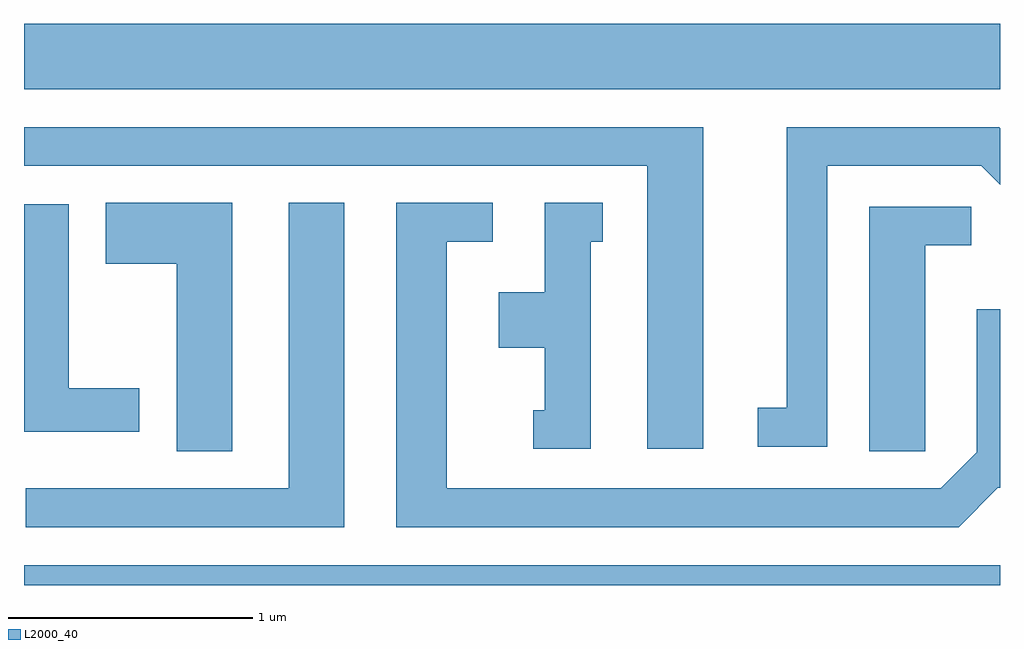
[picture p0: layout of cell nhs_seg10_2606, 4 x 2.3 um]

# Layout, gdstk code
import gdstk
lib = gdstk.Library(unit=1e-6, precision=1e-09)
def R(c, l, rs):  # rectangles x0, y0, x1, y1
    for r in rs: c.add(gdstk.rectangle(r[:2], r[2:], *l))
def P(c, l, *ps):  # polygons
    for p in ps: c.add(gdstk.Polygon(p, *l))
L2000_40 = (2000, 40)

nhs_seg10_2606 = lib.new_cell('nhs_seg10_2606')
R(nhs_seg10_2606, L2000_40, [(261.611,2138.522,265.611,2138.604), (261.611,2140.556,265.611,2140.824)])
P(nhs_seg10_2606, L2000_40, [(264.904,2140.241),(265.534,2140.241),(265.611,2140.164),(265.611,2140.395),(265.607,2140.399),(264.736,2140.399),(264.736,2139.249),(264.618,2139.249),(264.618,2139.091),(264.904,2139.091)],
  [(264.394,2140.399),(261.611,2140.399),(261.611,2140.241),(264.166,2140.241),(264.166,2139.081),(264.394,2139.081)],
  [(265.602,2138.921),(265.611,2138.921),(265.611,2139.653),(265.516,2139.653),(265.516,2139.067),(265.369,2138.919),(263.344,2138.919),(263.344,2139.931),(263.533,2139.931),(263.533,2140.089),(263.136,2140.089),(263.136,2138.761),(265.442,2138.761)],
  [(263.934,2139.931),(263.983,2139.931),(263.983,2140.089),(263.746,2140.089),(263.746,2139.724),(263.556,2139.724),(263.556,2139.496),(263.746,2139.496),(263.746,2139.239),(263.698,2139.239),(263.698,2139.081),(263.934,2139.081)],
  [(262.464,2140.089),(261.946,2140.089),(261.946,2139.841),(262.236,2139.841),(262.236,2139.071),(262.464,2139.071)],
  [(262.924,2140.089),(262.696,2140.089),(262.696,2138.919),(261.618,2138.919),(261.618,2138.761),(262.924,2138.761)],
  [(262.084,2139.329),(261.794,2139.329),(261.794,2140.084),(261.611,2140.084),(261.611,2139.151),(262.084,2139.151)],
  [(265.304,2139.916),(265.493,2139.916),(265.493,2140.074),(265.076,2140.074),(265.076,2139.071),(265.304,2139.071)])

lib.write_gds('nhs_seg10_2606.gds')
